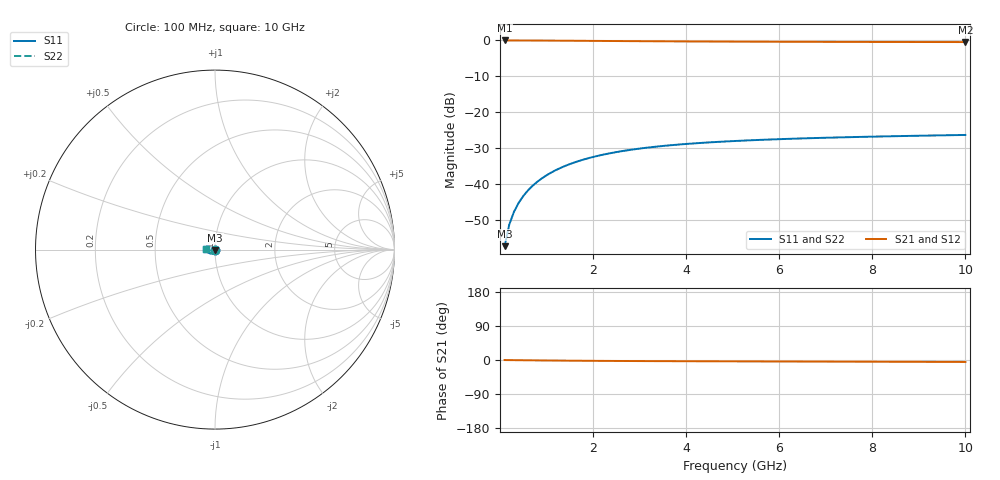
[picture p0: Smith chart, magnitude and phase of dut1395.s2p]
! Touchstone file exported from HFSS 2024.1.0
!  File:  C:/UserFiles/LocalFiles/RDL_TSV_Batchsim/temp_TSV1_1395_1780381675.aedt
!  Generated:  02:35:32 PM Jun  2, 2026
!  Design:  TSV1
!  Project:  temp_TSV1_1395_1780381675
!  Setup:  Setup1
!  Solution:  Sweep
! Variables:
!  dtsv = 11.8um
!  hbump = 3um
!  htsv = 79.46um
!  lrdl = 252.1521522um
!  p = 40
!  p1 = 55.05um
!  t = 500um
!  trdl = 3um
!  wrdl = 24.89489489um
# GHz S MA R 50.000000
! Terminal data exported
! Port[1] = TSV22_T1
! Port[2] = TSV22_T2
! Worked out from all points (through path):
!   100 points, 100 MHz to 10 GHz, reference 50 ohm
!   highest |S21| = 0.00 dB at 100 MHz (marker M1); lowest = -0.4 dB at 10 GHz (marker M2)
!   lowest |S11| = -57.2 dB at 100 MHz (marker M3), VSWR 1.00, Z = 50 - j0.139 ohm
!   |S11| at or under -10 dB: start of sweep to end of sweep
!   |S22| runs from -57.2 to -26.3 dB; largest |S21 - S12| = 8.4e-15
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0.1  0.001388 -87.6  0.9998 -0.1  0.9998 -0.1  0.001388 -87.6
! Gamma 0 0 0 0
! Port Impedance 50 0 50 0
0.2  0.00277 -91.5  0.9997 -0.3  0.9997 -0.3  0.00277 -91.5
0.3  0.00415 -94.0  0.9994 -0.4  0.9994 -0.4  0.00415 -94.0
0.4  0.005524 -96.2  0.9991 -0.5  0.9991 -0.5  0.005524 -96.2
0.5  0.006886 -98.3  0.9987 -0.7  0.9987 -0.7  0.006886 -98.3
0.6  0.008233 -100.3  0.9982 -0.8  0.9982 -0.8  0.008233 -100.3
0.7  0.009559 -102.3  0.9976 -0.9  0.9976 -0.9  0.009559 -102.3
0.8  0.01086 -104.2  0.997 -1.0  0.997 -1.0  0.01086 -104.2
0.9  0.01214 -106.1  0.9963 -1.1  0.9963 -1.1  0.01214 -106.1
1.1  0.01461 -109.7  0.9948 -1.4  0.9948 -1.4  0.01461 -109.7
1.4  0.01807 -114.9  0.9921 -1.7  0.9921 -1.7  0.01807 -114.9
1.6  0.0202 -118.2  0.9902 -1.9  0.9902 -1.9  0.0202 -118.2
1.8  0.0222 -121.3  0.9882 -2.0  0.9882 -2.0  0.0222 -121.3
2.1  0.02493 -125.7  0.9853 -2.3  0.9853 -2.3  0.02493 -125.7
2.5  0.02813 -131.2  0.9814 -2.5  0.9814 -2.5  0.02813 -131.2
2.9  0.03085 -136.1  0.9777 -2.8  0.9777 -2.8  0.03085 -136.1
3.4  0.0337 -141.5  0.9735 -3.0  0.9735 -3.0  0.0337 -141.5
4.2  0.03727 -149.1  0.9679 -3.3  0.9679 -3.3  0.03727 -149.1
5.1  0.04026 -156.1  0.9629 -3.6  0.9629 -3.6  0.04026 -156.1
6.7  0.04395 -166.2  0.9567 -4.1  0.9567 -4.1  0.04395 -166.2
8.4  0.04667 -174.6  0.9524 -4.7  0.9524 -4.7  0.04667 -174.6
10  0.04867 178.7  0.9497 -5.2  0.9497 -5.2  0.04867 178.7
